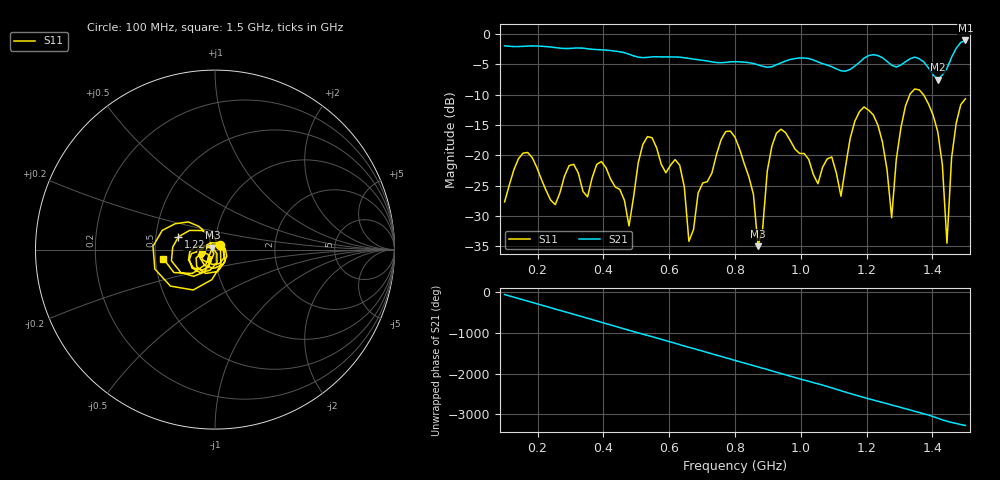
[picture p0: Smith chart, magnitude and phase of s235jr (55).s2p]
! NanoVNA-App
! Date: 2025-09-26 09:45:13
! Start: 100MHz Stop: 1,5GHz Points: 101
! S-Parameter data: F S11 S21 S12 S22
# Hz S RI R 50
!  Frequency  S11_Real  S11_Imag  S21_Real  S21_Imag  S12_Real  S12_Imag  S22_Real  S22_Imag
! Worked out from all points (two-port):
!   101 points, 100 MHz to 1.5 GHz, reference 50 ohm
!   highest |S21| = -1.07 dB at 1.5 GHz (marker M1); lowest = -7.5 dB at 1.416 GHz (marker M2)
!   |S21| within 3 dB of the highest: start of sweep to 665.4 MHz; 1.19 GHz to 1.252 GHz (61.34 MHz wide, 5.02 % of centre)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
!   lowest |S11| = -34.9 dB at 870 MHz (marker M3), VSWR 1.04, Z = 48.6 + j1.02 ohm
!   |S11| at or under -10 dB: start of sweep to 1.331 GHz; 1.372 GHz to end of sweep
!   S12 and S22 are empty: the file has one direction only
!   S11 on the Smith chart (normalised r, x): 100 MHz: 1.06, +0.06; 1.22 GHz: 0.66, +0.10; 1.5 GHz: 0.55, -0.06
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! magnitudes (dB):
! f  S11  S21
! 100 MHz  -27.7  -2.0
! 170 MHz  -19.5  -2.0
! 338 MHz  -25.9  -2.3
! 394 MHz  -21.0  -2.6
! 478 MHz  -31.6  -3.3
! 520 MHz  -18.2  -3.9
! 576 MHz  -21.5  -3.8
! 632 MHz  -21.6  -3.8
! 660 MHz  -34.1  -4.0
! 800 MHz  -17.0  -4.6
! 870 MHz  -34.9  -5.1
! 926 MHz  -16.3  -5.1
! 1.038 GHz  -23.1  -4.3
! 1.122 GHz  -26.7  -6.1
! 1.164 GHz  -14.4  -5.3
! 1.22 GHz  -13.3  -3.4
! 1.276 GHz  -30.3  -5.2
! 1.332 GHz  -9.9  -4.1
! 1.416 GHz  -16.1  -7.5
! 1.444 GHz  -34.5  -5.7
! 1.458 GHz  -20.4  -3.8
! 1.5 GHz  -10.7  -1.1
